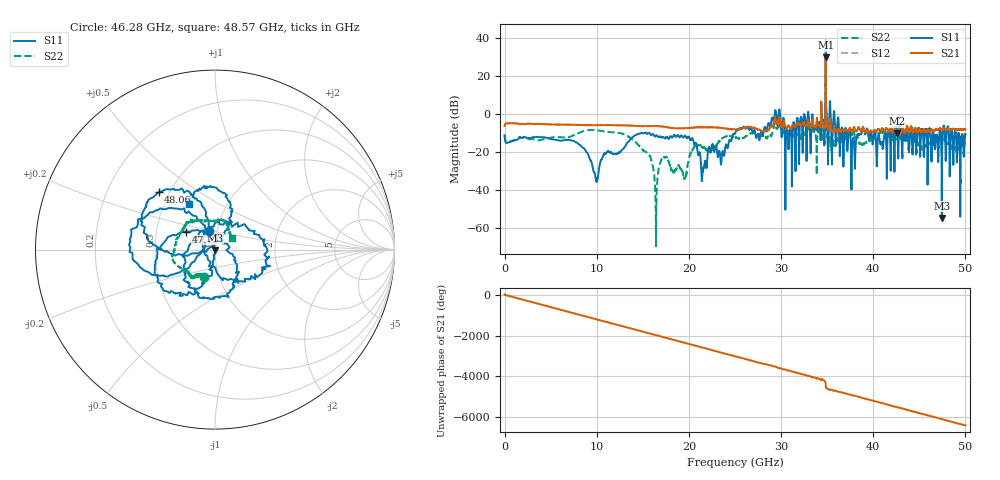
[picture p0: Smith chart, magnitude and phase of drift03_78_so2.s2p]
!Created with skrf (http://scikit-rf.org).
# Hz S RI R 50.0
!freq ReS11 ImS11 ReS21 ImS21 ReS12 ImS12 ReS22 ImS22
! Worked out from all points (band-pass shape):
!   10001 points, 300 kHz to 50 GHz, reference 50 ohm
!   highest |S21| = 29.57 dB at 34.85 GHz (marker M1); lowest = -10.4 dB at 42.55 GHz (marker M2)
!   |S21| within 3 dB of the highest: 34.8439 GHz to 34.84588 GHz (1.977 MHz wide, 0.00567 % of centre)
!   lowest |S11| = -54.9 dB at 47.44 GHz (marker M3), VSWR 1.00, Z = 49.9 - j0.173 ohm
!   |S11| at or under -10 dB: start of sweep to 15.23 GHz; 15.31 GHz to 25.05 GHz (9.739 GHz wide, 48.3 % of centre); 40.22 GHz to 41.61 GHz (1.389 GHz wide, 3.39 % of centre) (the widest 3 of 50)
!   |S22| runs from -69.6 to 20.5 dB; largest |S21 - S12| = 4.4
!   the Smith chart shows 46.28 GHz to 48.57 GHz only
!   S11 on the Smith chart (normalised r, x): 46.28 GHz: 0.91, +0.19; 47.13 GHz: 0.71, +0.15; 48.06 GHz: 0.44, +0.35; 48.57 GHz: 0.66, +0.37
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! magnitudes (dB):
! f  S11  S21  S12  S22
! 300 kHz  -11.4  -6.5  -6.5  -11.4
! 8.335 GHz  -17.1  -6.0  -6.0  -9.6
! 9.955 GHz  -35.6  -6.1  -6.1  -8.7
! 13.83 GHz  -12.5  -6.3  -6.3  -13.4
! 16.67 GHz  -12.3  -6.5  -6.5  -30.3
! 17.34 GHz  -12.8  -6.9  -6.9  -22.9
! 19.55 GHz  -11.6  -7.7  -7.6  -33.9
! 20.21 GHz  -13.9  -7.4  -7.5  -20.5
! 21.55 GHz  -28.8  -7.2  -7.2  -17.8
! 25 GHz  -10.6  -8.2  -8.2  -12.6
! 33.34 GHz  -3.8  -6.8  -6.7  -9.3
! 34.85 GHz  38.5  29.6  29.4  20.5
! 37.83 GHz  -12.9  -8.2  -8.3  -9.6
! 38.82 GHz  -8.2  -8.0  -8.0  -16.2
! 41.67 GHz  -9.1  -9.4  -9.4  -11.5
! 42.55 GHz  -8.4  -10.4  -10.4  -13.3
! 46.28 GHz  -19.1  -8.6  -8.6  -15.7
! 47.13 GHz  -14.5  -8.3  -8.3  -12.3
! 47.44 GHz  -54.9  -8.5  -8.5  -13.4
! 48.06 GHz  -7.0  -8.4  -8.5  -15.7
! 48.57 GHz  -10.7  -8.1  -8.1  -18.7
! 50 GHz  -10.7  -8.2  -8.3  -15.5
